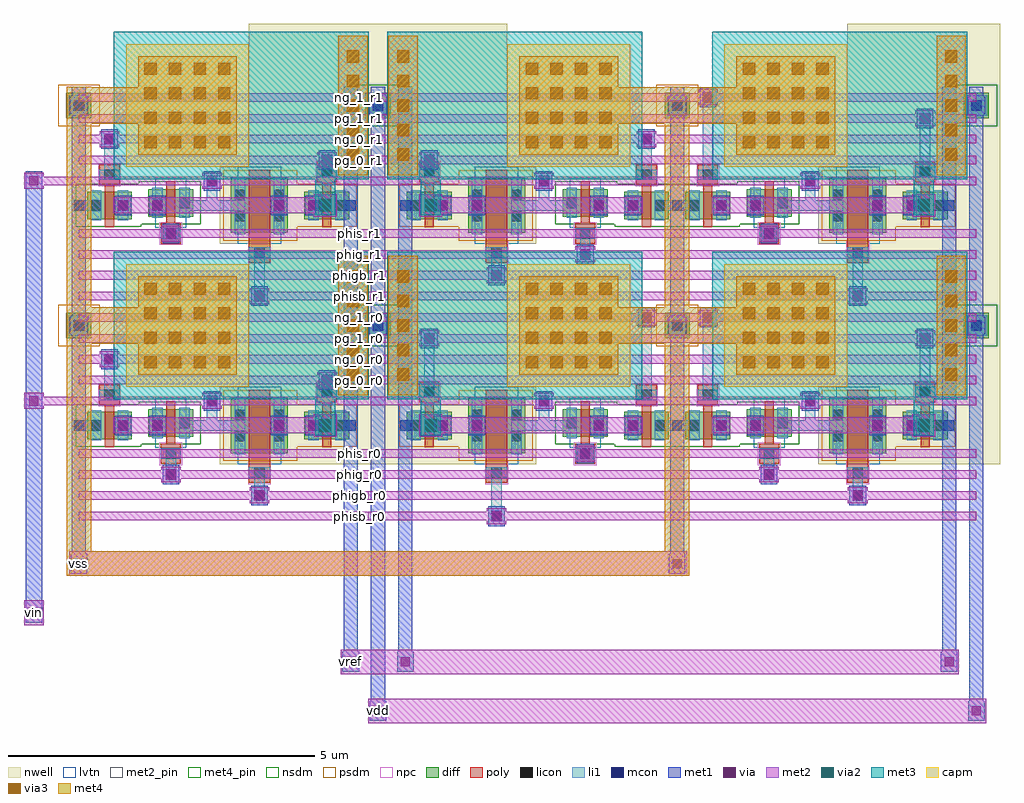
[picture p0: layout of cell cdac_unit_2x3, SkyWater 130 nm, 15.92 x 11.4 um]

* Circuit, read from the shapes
.subckt cdac_unit_2x3 ng_0_r0 ng_0_r1 ng_1_r0 ng_1_r1 pg_0_r0 pg_0_r1 pg_1_r0 pg_1_r1 phig_r0 phig_r1 phigb_r0 phigb_r1 phis_r0 phis_r1 phisb_r0 phisb_r1 top vdd vin vref vss
XM1 n1 ng_0_r0 vss VSUBS sky130_fd_pr__nfet_01v8 w=0.45 l=0.15
XM2 n2 ng_0_r1 vss VSUBS sky130_fd_pr__nfet_01v8 w=0.45 l=0.15
XM3 vin phig_r0 n1 VSUBS sky130_fd_pr__nfet_01v8_lvt w=0.45 l=0.15
XM4 vin phis_r1 n2 VSUBS sky130_fd_pr__nfet_01v8_lvt w=0.45 l=0.15
XM5 n3 phis_r0 vin VSUBS sky130_fd_pr__nfet_01v8_lvt w=0.45 l=0.15
XM6 n4 phig_r1 vin VSUBS sky130_fd_pr__nfet_01v8_lvt w=0.45 l=0.15
XM7 vss ng_1_r0 n3 VSUBS sky130_fd_pr__nfet_01v8 w=0.45 l=0.15
XM8 vss ng_0_r1 n4 VSUBS sky130_fd_pr__nfet_01v8 w=0.45 l=0.15
XM9 n5 ng_1_r0 vss VSUBS sky130_fd_pr__nfet_01v8 w=0.45 l=0.15
XM10 n6 ng_1_r1 vss VSUBS sky130_fd_pr__nfet_01v8 w=0.45 l=0.15
XM11 vin phig_r0 n5 VSUBS sky130_fd_pr__nfet_01v8_lvt w=0.45 l=0.15
XM12 vin phis_r1 n6 VSUBS sky130_fd_pr__nfet_01v8_lvt w=0.45 l=0.15
XM13 n1 phigb_r0 vin n7 sky130_fd_pr__pfet_01v8_lvt w=0.9 l=0.35
XM14 n2 phisb_r1 vin n7 sky130_fd_pr__pfet_01v8_lvt w=0.9 l=0.35
XM15 vref pg_0_r0 n1 n7 sky130_fd_pr__pfet_01v8 w=0.45 l=0.15
XM16 vref pg_0_r1 n2 n7 sky130_fd_pr__pfet_01v8 w=0.45 l=0.15
XM17 n3 pg_1_r0 vref n7 sky130_fd_pr__pfet_01v8 w=0.45 l=0.15
XM18 n4 pg_0_r1 vref n7 sky130_fd_pr__pfet_01v8 w=0.45 l=0.15
XM19 vin phisb_r0 n3 n7 sky130_fd_pr__pfet_01v8_lvt w=0.9 l=0.35
XM20 vin phigb_r1 n4 n7 sky130_fd_pr__pfet_01v8_lvt w=0.9 l=0.35
XM21 n5 phigb_r0 vin n8 sky130_fd_pr__pfet_01v8_lvt w=0.9 l=0.35
XM22 n6 phisb_r1 vin n8 sky130_fd_pr__pfet_01v8_lvt w=0.9 l=0.35
XM23 vref pg_1_r0 n5 n8 sky130_fd_pr__pfet_01v8 w=0.45 l=0.15
XM24 vref pg_1_r1 n6 n8 sky130_fd_pr__pfet_01v8 w=0.45 l=0.15
XC25 top n1 sky130_fd_pr__cap_mim_m3_1 w=2 l=2
XC26 top n2 sky130_fd_pr__cap_mim_m3_1 w=2 l=2
XC27 top n3 sky130_fd_pr__cap_mim_m3_1 w=2 l=2
XC28 top n4 sky130_fd_pr__cap_mim_m3_1 w=2 l=2
XC29 top n5 sky130_fd_pr__cap_mim_m3_1 w=2 l=2
XC30 top n6 sky130_fd_pr__cap_mim_m3_1 w=2 l=2
.ends

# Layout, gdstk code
import gdstk
lib = gdstk.Library(unit=1e-6, precision=5e-09)
def R(c, l, rs):  # rectangles x0, y0, x1, y1
    for r in rs: c.add(gdstk.rectangle(r[:2], r[2:], *l))
def A(c, l, x, y, w, h, nx, ny, dx, dy):  # array of equal rectangles
    R(c, l, [(x+i*dx, y+j*dy, x+i*dx+w, y+j*dy+h) for i in range(nx) for j in range(ny)])
nwell = (64, 20)
diff = (65, 20)
poly = (66, 20)
licon = (66, 44)
li1 = (67, 20)
mcon = (67, 44)
met1 = (68, 20)
via = (68, 44)
met2_pin = (69, 16)
met2 = (69, 20)
via2 = (69, 44)
met3 = (70, 20)
via3 = (70, 44)
met4_pin = (71, 16)
met4 = (71, 20)
capm = (89, 44)
nsdm = (93, 44)
psdm = (94, 20)
npc = (95, 20)
lvtn = (125, 44)

cdac_unit_2x3 = lib.new_cell('cdac_unit_2x3')
R(cdac_unit_2x3, nwell, [(2.3,1.025,5.265,2.285), (2.77,1.025,5.265,4.615), (4.495,1.025,7.46,2.285), (4.495,1.025,6.99,4.615), (12.06,1.025,15.025,2.285), (12.53,1.025,15.025,4.615), (2.3,4.615,5.265,5.875), (2.77,4.615,5.265,8.205), (4.495,4.615,7.46,5.875), (4.495,4.615,6.99,8.205), (12.06,4.615,15.025,5.875), (12.53,4.615,15.025,8.205)])
R(cdac_unit_2x3, diff, [(2.48,1.205,3.41,2.105), (6.35,1.205,7.28,2.105), (12.24,1.205,13.17,2.105), (0.135,1.43,0.865,1.88), (3.68,1.43,4.41,1.88), (5.35,1.43,6.08,1.88), (8.895,1.43,9.625,1.88), (9.895,1.43,10.625,1.88), (13.44,1.43,14.17,1.88), (1.135,1.47,1.865,1.92), (7.895,1.47,8.625,1.92), (10.895,1.47,11.625,1.92), (-0.205,3.08,0.205,3.49), (4.675,3.08,5.085,3.49), (4.675,3.08,5.085,3.49), (9.555,3.08,9.965,3.49), (9.555,3.08,9.965,3.49), (14.435,3.08,14.845,3.49), (2.48,4.795,3.41,5.695), (6.35,4.795,7.28,5.695), (12.24,4.795,13.17,5.695), (0.135,5.02,0.865,5.47), (3.68,5.02,4.41,5.47), (5.35,5.02,6.08,5.47), (8.895,5.02,9.625,5.47), (9.895,5.02,10.625,5.47), (13.44,5.02,14.17,5.47), (1.135,5.06,1.865,5.51), (7.895,5.06,8.625,5.51), (10.895,5.06,11.625,5.51), (-0.205,6.67,0.205,7.08), (4.675,6.67,5.085,7.08), (4.675,6.67,5.085,7.08), (9.555,6.67,9.965,7.08), (9.555,6.67,9.965,7.08), (14.435,6.67,14.845,7.08)])
R(cdac_unit_2x3, poly, [(2.77,0.72,3.12,2.235), (6.64,0.72,6.99,2.235), (12.53,0.72,12.88,2.235), (1.335,1.03,1.665,1.36), (8.095,1.03,8.425,1.36), (11.095,1.03,11.425,1.36), (0.425,1.3,0.575,1.99), (3.97,1.3,4.12,2.035), (5.64,1.3,5.79,2.035), (9.185,1.3,9.335,1.99), (10.185,1.3,10.335,1.99), (13.73,1.3,13.88,2.035), (1.425,1.36,1.575,2.05), (8.185,1.36,8.335,2.05), (11.185,1.36,11.335,2.05), (0.335,1.99,0.665,2.32), (9.095,1.99,9.425,2.32), (10.095,1.99,10.425,2.32), (3.88,2.035,4.21,2.365), (5.55,2.035,5.88,2.365), (13.64,2.035,13.97,2.365), (2.77,4.31,3.12,5.825), (6.64,4.31,6.99,5.825), (12.53,4.31,12.88,5.825), (1.335,4.62,1.665,4.95), (8.095,4.62,8.425,4.95), (11.095,4.62,11.425,4.95), (0.425,4.89,0.575,5.58), (3.97,4.89,4.12,5.625), (5.64,4.89,5.79,5.625), (9.185,4.89,9.335,5.58), (10.185,4.89,10.335,5.58), (13.73,4.89,13.88,5.625), (1.425,4.95,1.575,5.64), (8.185,4.95,8.335,5.64), (11.185,4.95,11.335,5.64), (0.335,5.58,0.665,5.91), (9.095,5.58,9.425,5.91), (10.095,5.58,10.425,5.91), (3.88,5.625,4.21,5.955), (5.55,5.625,5.88,5.955), (13.64,5.625,13.97,5.955)])
R(cdac_unit_2x3, licon, [(2.86,0.8,3.03,0.97), (6.73,0.8,6.9,0.97), (12.62,0.8,12.79,0.97), (1.415,1.11,1.585,1.28), (8.175,1.11,8.345,1.28), (11.175,1.11,11.345,1.28), (2.54,1.4,2.71,1.57), (3.18,1.4,3.35,1.57), (6.41,1.4,6.58,1.57), (7.05,1.4,7.22,1.57), (12.3,1.4,12.47,1.57), (12.94,1.4,13.11,1.57), (0.195,1.57,0.365,1.74), (0.635,1.57,0.805,1.74), (3.74,1.57,3.91,1.74), (4.18,1.57,4.35,1.74), (5.41,1.57,5.58,1.74), (5.85,1.57,6.02,1.74), (8.955,1.57,9.125,1.74), (9.395,1.57,9.565,1.74), (9.955,1.57,10.125,1.74), (10.395,1.57,10.565,1.74), (13.5,1.57,13.67,1.74), (13.94,1.57,14.11,1.74), (1.195,1.61,1.365,1.78), (1.635,1.61,1.805,1.78), (7.955,1.61,8.125,1.78), (8.395,1.61,8.565,1.78), (10.955,1.61,11.125,1.78), (11.395,1.61,11.565,1.78), (2.54,1.74,2.71,1.91), (3.18,1.74,3.35,1.91), (6.41,1.74,6.58,1.91), (7.05,1.74,7.22,1.91), (12.3,1.74,12.47,1.91), (12.94,1.74,13.11,1.91), (0.415,2.07,0.585,2.24), (9.175,2.07,9.345,2.24), (10.175,2.07,10.345,2.24), (3.96,2.115,4.13,2.285), (5.63,2.115,5.8,2.285), (13.72,2.115,13.89,2.285), (-0.085,3.2,0.085,3.37), (4.795,3.2,4.965,3.37), (4.795,3.2,4.965,3.37), (9.675,3.2,9.845,3.37), (9.675,3.2,9.845,3.37), (14.555,3.2,14.725,3.37), (2.86,4.39,3.03,4.56), (6.73,4.39,6.9,4.56), (12.62,4.39,12.79,4.56), (1.415,4.7,1.585,4.87), (8.175,4.7,8.345,4.87), (11.175,4.7,11.345,4.87), (2.54,4.99,2.71,5.16), (3.18,4.99,3.35,5.16), (6.41,4.99,6.58,5.16), (7.05,4.99,7.22,5.16), (12.3,4.99,12.47,5.16), (12.94,4.99,13.11,5.16), (0.195,5.16,0.365,5.33), (0.635,5.16,0.805,5.33), (3.74,5.16,3.91,5.33), (4.18,5.16,4.35,5.33), (5.41,5.16,5.58,5.33), (5.85,5.16,6.02,5.33), (8.955,5.16,9.125,5.33), (9.395,5.16,9.565,5.33), (9.955,5.16,10.125,5.33), (10.395,5.16,10.565,5.33), (13.5,5.16,13.67,5.33), (13.94,5.16,14.11,5.33), (1.195,5.2,1.365,5.37), (1.635,5.2,1.805,5.37), (7.955,5.2,8.125,5.37), (8.395,5.2,8.565,5.37), (10.955,5.2,11.125,5.37), (11.395,5.2,11.565,5.37), (2.54,5.33,2.71,5.5), (3.18,5.33,3.35,5.5), (6.41,5.33,6.58,5.5), (7.05,5.33,7.22,5.5), (12.3,5.33,12.47,5.5), (12.94,5.33,13.11,5.5), (0.415,5.66,0.585,5.83), (9.175,5.66,9.345,5.83), (10.175,5.66,10.345,5.83), (3.96,5.705,4.13,5.875), (5.63,5.705,5.8,5.875), (13.72,5.705,13.89,5.875), (-0.085,6.79,0.085,6.96), (4.795,6.79,4.965,6.96), (4.795,6.79,4.965,6.96), (9.675,6.79,9.845,6.96), (9.675,6.79,9.845,6.96), (14.555,6.79,14.725,6.96)])
R(cdac_unit_2x3, li1, [(6.73,0.09,6.9,0.97), (2.86,0.43,3.03,0.97), (12.62,0.43,12.79,0.97), (1.415,0.77,1.585,1.28), (11.175,0.77,11.345,1.28), (2.77,0.8,3.12,0.97), (6.64,0.8,6.99,0.97), (12.53,0.8,12.88,0.97), (1.335,1.11,1.665,1.28), (8.095,1.11,8.425,1.28), (8.175,1.11,8.345,1.28), (11.095,1.11,11.425,1.28), (2.54,1.185,2.71,2.125), (3.18,1.185,3.35,2.125), (6.41,1.185,6.58,2.125), (7.05,1.185,7.22,2.125), (12.3,1.185,12.47,2.125), (12.94,1.185,13.11,2.125), (0.195,1.41,0.365,1.9), (0.635,1.41,0.805,1.9), (3.74,1.41,3.91,1.9), (4.18,1.41,4.35,1.9), (5.41,1.41,5.58,1.9), (5.85,1.41,6.02,1.9), (8.955,1.41,9.125,1.9), (9.395,1.41,9.565,1.9), (9.955,1.41,10.125,1.9), (10.395,1.41,10.565,1.9), (13.5,1.41,13.67,1.9), (13.94,1.41,14.11,1.9), (1.195,1.45,1.365,1.94), (1.635,1.45,1.805,1.94), (7.955,1.45,8.125,1.94), (8.395,1.45,8.565,1.94), (10.955,1.45,11.125,1.94), (11.395,1.45,11.565,1.94), (-0.085,1.57,0.28,1.74), (1.72,1.57,2.625,1.74), (4.265,1.57,4.52,1.74), (5.24,1.57,5.495,1.74), (7.135,1.57,8.04,1.74), (9.48,1.57,9.845,1.74), (9.675,1.57,10.04,1.74), (11.48,1.57,12.385,1.74), (14.025,1.57,14.28,1.74), (2.085,1.655,2.255,2.14), (7.505,1.655,7.675,2.14), (11.845,1.655,12.015,2.14), (0.335,2.07,0.665,2.24), (0.415,2.07,0.585,2.82), (9.095,2.07,9.425,2.24), (9.175,2.07,9.345,3.5), (10.095,2.07,10.425,2.24), (10.175,2.07,10.345,3.5), (3.88,2.115,4.21,2.285), (3.96,2.115,4.13,2.48), (5.55,2.115,5.88,2.285), (5.63,2.115,5.8,3.16), (13.64,2.115,13.97,2.285), (13.72,2.115,13.89,3.16), (-0.165,3.12,0.165,3.45), (4.715,3.12,5.045,3.45), (4.715,3.12,5.045,3.45), (9.595,3.12,9.925,3.45), (9.595,3.12,9.925,3.45), (14.475,3.12,14.805,3.45), (2.86,3.68,3.03,4.56), (12.62,3.68,12.79,4.56), (6.73,4.02,6.9,4.56), (8.175,4.36,8.345,4.87), (2.77,4.39,3.12,4.56), (6.64,4.39,6.99,4.56), (12.53,4.39,12.88,4.56), (1.335,4.7,1.665,4.87), (1.415,4.7,1.585,4.87), (8.095,4.7,8.425,4.87), (11.095,4.7,11.425,4.87), (11.175,4.7,11.345,4.87), (2.54,4.775,2.71,5.715), (3.18,4.775,3.35,5.715), (6.41,4.775,6.58,5.715), (7.05,4.775,7.22,5.715), (12.3,4.775,12.47,5.715), (12.94,4.775,13.11,5.715), (0.195,5,0.365,5.49), (0.635,5,0.805,5.49), (3.74,5,3.91,5.49), (4.18,5,4.35,5.49), (5.41,5,5.58,5.49), (5.85,5,6.02,5.49), (8.955,5,9.125,5.49), (9.395,5,9.565,5.49), (9.955,5,10.125,5.49), (10.395,5,10.565,5.49), (13.5,5,13.67,5.49), (13.94,5,14.11,5.49), (1.195,5.04,1.365,5.53), (1.635,5.04,1.805,5.53), (7.955,5.04,8.125,5.53), (8.395,5.04,8.565,5.53), (10.955,5.04,11.125,5.53), (11.395,5.04,11.565,5.53), (-0.085,5.16,0.28,5.33), (1.72,5.16,2.625,5.33), (4.265,5.16,4.52,5.33), (5.24,5.16,5.495,5.33), (7.135,5.16,8.04,5.33), (9.48,5.16,9.845,5.33), (9.675,5.16,10.04,5.33), (11.48,5.16,12.385,5.33), (14.025,5.16,14.28,5.33), (2.085,5.245,2.255,5.73), (7.505,5.245,7.675,5.73), (11.845,5.245,12.015,5.73), (0.335,5.66,0.665,5.83), (0.415,5.66,0.585,6.41), (9.095,5.66,9.425,5.83), (9.175,5.66,9.345,6.41), (10.095,5.66,10.425,5.83), (10.175,5.66,10.345,7.09), (3.88,5.705,4.21,5.875), (3.96,5.705,4.13,6.07), (5.55,5.705,5.88,5.875), (5.63,5.705,5.8,6.07), (13.64,5.705,13.97,5.875), (13.72,5.705,13.89,6.75), (-0.165,6.71,0.165,7.04), (4.715,6.71,5.045,7.04), (4.715,6.71,5.045,7.04), (9.595,6.71,9.925,7.04), (9.595,6.71,9.925,7.04), (14.475,6.71,14.805,7.04)])
R(cdac_unit_2x3, mcon, [(6.73,0.09,6.9,0.26), (2.86,0.43,3.03,0.6), (12.62,0.43,12.79,0.6), (1.415,0.77,1.585,0.94), (11.175,0.77,11.345,0.94), (8.175,1.11,8.345,1.28), (-0.085,1.57,0.085,1.74), (0.635,1.57,0.805,1.74), (1.195,1.57,1.365,1.74), (3.18,1.57,3.35,1.74), (3.74,1.57,3.91,1.74), (4.35,1.57,4.52,1.74), (5.24,1.57,5.41,1.74), (5.85,1.57,6.02,1.74), (6.41,1.57,6.58,1.74), (8.395,1.57,8.565,1.74), (8.955,1.57,9.125,1.74), (9.675,1.57,9.845,1.74), (9.675,1.57,9.845,1.74), (10.395,1.57,10.565,1.74), (10.955,1.57,11.125,1.74), (12.94,1.57,13.11,1.74), (13.5,1.57,13.67,1.74), (14.11,1.57,14.28,1.74), (2.085,1.97,2.255,2.14), (7.505,1.97,7.675,2.14), (11.845,1.97,12.015,2.14), (3.96,2.31,4.13,2.48), (0.415,2.65,0.585,2.82), (5.63,2.99,5.8,3.16), (13.72,2.99,13.89,3.16), (-0.085,3.2,0.085,3.37), (4.795,3.2,4.965,3.37), (4.795,3.2,4.965,3.37), (9.675,3.2,9.845,3.37), (9.675,3.2,9.845,3.37), (14.555,3.2,14.725,3.37), (9.175,3.33,9.345,3.5), (10.175,3.33,10.345,3.5), (2.86,3.68,3.03,3.85), (12.62,3.68,12.79,3.85), (6.73,4.02,6.9,4.19), (8.175,4.36,8.345,4.53), (1.415,4.7,1.585,4.87), (11.175,4.7,11.345,4.87), (-0.085,5.16,0.085,5.33), (0.635,5.16,0.805,5.33), (1.195,5.16,1.365,5.33), (3.18,5.16,3.35,5.33), (3.74,5.16,3.91,5.33), (4.35,5.16,4.52,5.33), (5.24,5.16,5.41,5.33), (5.85,5.16,6.02,5.33), (6.41,5.16,6.58,5.33), (8.395,5.16,8.565,5.33), (8.955,5.16,9.125,5.33), (9.675,5.16,9.845,5.33), (9.675,5.16,9.845,5.33), (10.395,5.16,10.565,5.33), (10.955,5.16,11.125,5.33), (12.94,5.16,13.11,5.33), (13.5,5.16,13.67,5.33), (14.11,5.16,14.28,5.33), (2.085,5.56,2.255,5.73), (7.505,5.56,7.675,5.73), (11.845,5.56,12.015,5.73), (3.96,5.9,4.13,6.07), (5.63,5.9,5.8,6.07), (0.415,6.24,0.585,6.41), (9.175,6.24,9.345,6.41), (13.72,6.58,13.89,6.75), (-0.085,6.79,0.085,6.96), (4.795,6.79,4.965,6.96), (4.795,6.79,4.965,6.96), (9.675,6.79,9.845,6.96), (9.675,6.79,9.845,6.96), (14.555,6.79,14.725,6.96), (10.175,6.92,10.345,7.09)])
R(cdac_unit_2x3, met1, [(4.745,-3.16,5.015,-2.84), (14.505,-3.16,14.775,-2.84), (4.765,-3,4.995,0), (14.525,-3,14.755,0), (4.3,-2.36,4.57,-2.04), (5.19,-2.36,5.46,-2.04), (14.06,-2.36,14.33,-2.04), (4.32,-2.2,4.55,0), (5.21,-2.2,5.44,0), (14.08,-2.2,14.31,0), (-0.87,-1.56,-0.6,-1.24), (-0.87,-1.4,-0.6,5.645), (-0.135,-0.76,0.135,-0.44), (9.625,-0.76,9.895,-0.44), (-0.115,-0.6,0.115,0), (9.645,-0.6,9.875,0), (-0.115,0,0.115,3.59), (4.32,0,4.55,3.59), (4.765,0,4.995,3.59), (4.765,0,4.995,3.59), (5.21,0,5.44,3.59), (9.645,0,9.875,3.59), (9.645,0,9.875,3.59), (14.08,0,14.31,3.59), (14.525,0,14.755,3.59), (6.68,0.015,6.95,0.335), (2.81,0.355,3.08,0.675), (12.57,0.355,12.84,0.675), (1.365,0.695,1.635,1.015), (11.125,0.695,11.395,1.015), (8.125,1.035,8.395,1.355), (0.585,1.495,0.855,1.815), (1.145,1.495,1.415,1.815), (3.13,1.495,3.4,1.815), (3.69,1.495,3.96,1.815), (5.8,1.495,6.07,1.815), (6.36,1.495,6.63,1.815), (8.345,1.495,8.615,1.815), (8.905,1.495,9.175,1.815), (10.345,1.495,10.615,1.815), (10.905,1.495,11.175,1.815), (12.89,1.495,13.16,1.815), (13.45,1.495,13.72,1.815), (-0.115,1.515,0.115,1.795), (4.32,1.515,4.55,1.795), (5.21,1.515,5.44,1.795), (9.645,1.515,9.875,1.795), (9.645,1.515,9.875,1.795), (14.08,1.515,14.31,1.795), (-0.87,1.895,-0.6,2.215), (2.035,1.895,2.305,2.215), (7.455,1.895,7.725,2.215), (11.795,1.895,12.065,2.215), (3.91,2.235,4.18,2.555), (0.365,2.575,0.635,2.895), (5.58,2.915,5.85,3.235), (13.67,2.915,13.94,3.235), (-0.145,3.14,0.145,3.43), (4.735,3.14,5.025,3.43), (4.735,3.14,5.025,3.43), (9.615,3.14,9.905,3.43), (9.615,3.14,9.905,3.43), (14.495,3.14,14.785,3.43), (9.125,3.255,9.395,3.575), (10.125,3.255,10.395,3.575), (-0.115,3.59,0.115,7.18), (4.32,3.59,4.55,7.18), (4.765,3.59,4.995,7.18), (4.765,3.59,4.995,7.18), (5.21,3.59,5.44,7.18), (9.645,3.59,9.875,7.18), (9.645,3.59,9.875,7.18), (14.08,3.59,14.31,7.18), (14.525,3.59,14.755,7.18), (2.81,3.605,3.08,3.925), (12.57,3.605,12.84,3.925), (6.68,3.945,6.95,4.265), (8.125,4.285,8.395,4.605), (1.365,4.625,1.635,4.945), (11.125,4.625,11.395,4.945), (0.585,5.085,0.855,5.405), (1.145,5.085,1.415,5.405), (3.13,5.085,3.4,5.405), (3.69,5.085,3.96,5.405), (5.8,5.085,6.07,5.405), (6.36,5.085,6.63,5.405), (8.345,5.085,8.615,5.405), (8.905,5.085,9.175,5.405), (10.345,5.085,10.615,5.405), (10.905,5.085,11.175,5.405), (12.89,5.085,13.16,5.405), (13.45,5.085,13.72,5.405), (-0.115,5.105,0.115,5.385), (4.32,5.105,4.55,5.385), (5.21,5.105,5.44,5.385), (9.645,5.105,9.875,5.385), (9.645,5.105,9.875,5.385), (14.08,5.105,14.31,5.385), (-0.87,5.485,-0.6,5.805), (2.035,5.485,2.305,5.805), (7.455,5.485,7.725,5.805), (11.795,5.485,12.065,5.805), (3.91,5.825,4.18,6.145), (5.58,5.825,5.85,6.145), (0.365,6.165,0.635,6.485), (9.125,6.165,9.395,6.485), (13.67,6.505,13.94,6.825), (-0.145,6.73,0.145,7.02), (4.735,6.73,5.025,7.02), (4.735,6.73,5.025,7.02), (9.615,6.73,9.905,7.02), (9.615,6.73,9.905,7.02), (14.495,6.73,14.785,7.02), (10.125,6.845,10.395,7.165)])
R(cdac_unit_2x3, via, [(4.805,-3.075,4.955,-2.925), (14.565,-3.075,14.715,-2.925), (4.36,-2.275,4.51,-2.125), (5.25,-2.275,5.4,-2.125), (14.12,-2.275,14.27,-2.125), (-0.81,-1.475,-0.66,-1.325), (-0.075,-0.675,0.075,-0.525), (9.685,-0.675,9.835,-0.525), (6.74,0.1,6.89,0.25), (2.87,0.44,3.02,0.59), (12.63,0.44,12.78,0.59), (1.425,0.78,1.575,0.93), (11.185,0.78,11.335,0.93), (8.185,1.12,8.335,1.27), (0.645,1.58,0.795,1.73), (1.205,1.58,1.355,1.73), (3.19,1.58,3.34,1.73), (3.75,1.58,3.9,1.73), (5.86,1.58,6.01,1.73), (6.42,1.58,6.57,1.73), (8.405,1.58,8.555,1.73), (8.965,1.58,9.115,1.73), (10.405,1.58,10.555,1.73), (10.965,1.58,11.115,1.73), (12.95,1.58,13.1,1.73), (13.51,1.58,13.66,1.73), (-0.81,1.98,-0.66,2.13), (2.095,1.98,2.245,2.13), (7.515,1.98,7.665,2.13), (11.855,1.98,12.005,2.13), (3.97,2.32,4.12,2.47), (0.425,2.66,0.575,2.81), (5.64,3,5.79,3.15), (13.73,3,13.88,3.15), (9.185,3.34,9.335,3.49), (10.185,3.34,10.335,3.49), (2.87,3.69,3.02,3.84), (12.63,3.69,12.78,3.84), (6.74,4.03,6.89,4.18), (8.185,4.37,8.335,4.52), (1.425,4.71,1.575,4.86), (11.185,4.71,11.335,4.86), (0.645,5.17,0.795,5.32), (1.205,5.17,1.355,5.32), (3.19,5.17,3.34,5.32), (3.75,5.17,3.9,5.32), (5.86,5.17,6.01,5.32), (6.42,5.17,6.57,5.32), (8.405,5.17,8.555,5.32), (8.965,5.17,9.115,5.32), (10.405,5.17,10.555,5.32), (10.965,5.17,11.115,5.32), (12.95,5.17,13.1,5.32), (13.51,5.17,13.66,5.32), (-0.81,5.57,-0.66,5.72), (2.095,5.57,2.245,5.72), (7.515,5.57,7.665,5.72), (11.855,5.57,12.005,5.72), (3.97,5.91,4.12,6.06), (5.64,5.91,5.79,6.06), (0.425,6.25,0.575,6.4), (9.185,6.25,9.335,6.4), (13.73,6.59,13.88,6.74), (10.185,6.93,10.335,7.08)])
A(cdac_unit_2x3, met2_pin, 4.43, 0.105, 0.3, 0.14, 1, 4, 0, 0.34)
A(cdac_unit_2x3, met2_pin, 4.43, 2.325, 0.3, 0.14, 1, 4, 0, 0.34)
A(cdac_unit_2x3, met2_pin, 4.43, 3.695, 0.3, 0.14, 1, 4, 0, 0.34)
A(cdac_unit_2x3, met2_pin, 4.43, 5.915, 0.3, 0.14, 1, 4, 0, 0.34)
R(cdac_unit_2x3, met2_pin, [(4.73,-3.08,5.03,-2.92), (4.285,-2.28,4.585,-2.12), (-0.885,-1.48,-0.585,-1.32), (-0.15,-0.68,0.15,-0.52)])
A(cdac_unit_2x3, met2, 0, 0.105, 4.88, 0.14, 3, 4, 4.88, 0.34)
A(cdac_unit_2x3, met2, 0, 1.985, 4.88, 0.14, 3, 5, 4.88, 0.34)
A(cdac_unit_2x3, met2, 0, 3.695, 4.88, 0.14, 3, 4, 4.88, 0.34)
A(cdac_unit_2x3, met2, 0, 5.575, 4.88, 0.14, 3, 5, 4.88, 0.34)
R(cdac_unit_2x3, met2, [(4.72,-3.2,14.8,-2.8), (4.72,-3.13,5.04,-2.87), (14.48,-3.13,14.8,-2.87), (4.275,-2.4,14.355,-2), (4.275,-2.33,4.595,-2.07), (5.165,-2.33,5.485,-2.07), (14.035,-2.33,14.355,-2.07), (-0.895,-1.6,-0.575,-1.2), (-0.895,-1.53,-0.575,-1.27), (-0.16,-0.8,9.92,-0.4), (-0.16,-0.73,0.16,-0.47), (9.6,-0.73,9.92,-0.47), (6.655,0.045,6.975,0.305), (2.785,0.385,3.105,0.645), (12.545,0.385,12.865,0.645), (1.34,0.725,1.66,0.985), (11.1,0.725,11.42,0.985), (8.1,1.065,8.42,1.325), (3.835,1.47,4.205,1.84), (5.555,1.47,5.925,1.84), (13.595,1.47,13.965,1.84), (0.56,1.525,0.88,1.785), (0.56,1.525,4.205,1.785), (1.12,1.525,1.44,1.785), (3.105,1.525,3.425,1.785), (3.665,1.525,3.985,1.785), (5.555,1.525,9.2,1.785), (5.775,1.525,6.095,1.785), (6.335,1.525,6.655,1.785), (8.32,1.525,8.64,1.785), (8.88,1.525,9.2,1.785), (10.32,1.525,10.64,1.785), (10.32,1.525,13.965,1.785), (10.88,1.525,11.2,1.785), (12.865,1.525,13.185,1.785), (13.425,1.525,13.745,1.785), (-0.895,1.925,-0.575,2.185), (2.01,1.925,2.33,2.185), (7.43,1.925,7.75,2.185), (11.77,1.925,12.09,2.185), (-0.735,1.985,0,2.125), (3.885,2.265,4.205,2.525), (0.34,2.605,0.66,2.865), (5.555,2.945,5.875,3.205), (13.645,2.945,13.965,3.205), (9.1,3.285,9.42,3.545), (10.1,3.285,10.42,3.545), (2.785,3.635,3.105,3.895), (12.545,3.635,12.865,3.895), (6.655,3.975,6.975,4.235), (8.1,4.315,8.42,4.575), (1.34,4.655,1.66,4.915), (11.1,4.655,11.42,4.915), (3.835,5.06,4.205,5.43), (5.555,5.06,5.925,5.43), (13.595,5.06,13.965,5.43), (0.56,5.115,0.88,5.375), (0.56,5.115,4.205,5.375), (1.12,5.115,1.44,5.375), (3.105,5.115,3.425,5.375), (3.665,5.115,3.985,5.375), (5.555,5.115,9.2,5.375), (5.775,5.115,6.095,5.375), (6.335,5.115,6.655,5.375), (8.32,5.115,8.64,5.375), (8.88,5.115,9.2,5.375), (10.32,5.115,10.64,5.375), (10.32,5.115,13.965,5.375), (10.88,5.115,11.2,5.375), (12.865,5.115,13.185,5.375), (13.425,5.115,13.745,5.375), (-0.895,5.515,-0.575,5.775), (2.01,5.515,2.33,5.775), (7.43,5.515,7.75,5.775), (11.77,5.515,12.09,5.775), (-0.735,5.575,0,5.715), (3.885,5.855,4.205,6.115), (5.555,5.855,5.875,6.115), (0.34,6.195,0.66,6.455), (9.1,6.195,9.42,6.455), (13.645,6.535,13.965,6.795), (10.1,6.875,10.42,7.135)])
R(cdac_unit_2x3, via2, [(3.92,1.555,4.12,1.755), (5.64,1.555,5.84,1.755), (13.68,1.555,13.88,1.755), (3.92,5.145,4.12,5.345), (5.64,5.145,5.84,5.345), (13.68,5.145,13.88,5.345)])
R(cdac_unit_2x3, met3, [(3.855,1.49,4.185,2.285), (5.575,1.49,5.905,2.285), (13.615,1.49,13.945,2.285), (0.57,2.085,4.73,4.485), (5.03,2.085,9.19,4.485), (10.33,2.085,14.49,4.485), (3.855,5.08,4.185,5.875), (5.575,5.08,5.905,5.875), (13.615,5.08,13.945,5.875), (0.57,5.675,4.73,8.075), (5.03,5.675,9.19,8.075), (10.33,5.675,14.49,8.075)])
A(cdac_unit_2x3, via3, 4.37, 2.385, 0.2, 0.2, 1, 5, 0, 0.4)
A(cdac_unit_2x3, via3, 5.19, 2.385, 0.2, 0.2, 1, 5, 0, 0.4)
A(cdac_unit_2x3, via3, 14.13, 2.385, 0.2, 0.2, 1, 5, 0, 0.4)
A(cdac_unit_2x3, via3, 1.07, 2.585, 0.2, 0.2, 4, 4, 0.4, 0.4)
A(cdac_unit_2x3, via3, 7.29, 2.585, 0.2, 0.2, 4, 4, 0.4, 0.4)
A(cdac_unit_2x3, via3, 10.83, 2.585, 0.2, 0.2, 4, 4, 0.4, 0.4)
A(cdac_unit_2x3, via3, 4.37, 5.975, 0.2, 0.2, 1, 5, 0, 0.4)
A(cdac_unit_2x3, via3, 5.19, 5.975, 0.2, 0.2, 1, 5, 0, 0.4)
A(cdac_unit_2x3, via3, 14.13, 5.975, 0.2, 0.2, 1, 5, 0, 0.4)
A(cdac_unit_2x3, via3, 1.07, 6.175, 0.2, 0.2, 4, 4, 0.4, 0.4)
A(cdac_unit_2x3, via3, 7.29, 6.175, 0.2, 0.2, 4, 4, 0.4, 0.4)
A(cdac_unit_2x3, via3, 10.83, 6.175, 0.2, 0.2, 4, 4, 0.4, 0.4)
R(cdac_unit_2x3, met4_pin, [(-0.15,-0.68,0.15,-0.52)])
R(cdac_unit_2x3, met4, [(-0.2,-0.8,0.2,0), (-0.2,-0.8,9.96,-0.4), (9.56,-0.8,9.96,0), (-0.2,0,0.2,3.59), (9.56,0,9.96,3.59), (9.56,0,9.96,3.59), (4.23,2.145,4.71,4.425), (5.05,2.145,5.53,4.425), (13.99,2.145,14.47,4.425), (0.965,2.48,2.575,4.09), (7.185,2.48,8.795,4.09), (10.725,2.48,12.335,4.09), (0,2.985,1.165,3.585), (8.595,2.985,9.76,3.585), (9.76,2.985,10.925,3.585), (-0.2,3.59,0.2,7.18), (9.56,3.59,9.96,7.18), (9.56,3.59,9.96,7.18), (4.23,5.735,4.71,8.015), (5.05,5.735,5.53,8.015), (13.99,5.735,14.47,8.015), (0.965,6.07,2.575,7.68), (7.185,6.07,8.795,7.68), (10.725,6.07,12.335,7.68), (0,6.575,1.165,7.175), (8.595,6.575,9.76,7.175), (9.76,6.575,10.925,7.175)])
R(cdac_unit_2x3, capm, [(0.77,2.285,2.77,4.285), (6.99,2.285,8.99,4.285), (10.53,2.285,12.53,4.285), (0.77,5.875,2.77,7.875), (6.99,5.875,8.99,7.875), (10.53,5.875,12.53,7.875)])
R(cdac_unit_2x3, nsdm, [(-0.05,1.305,0.02,2.005), (0.01,1.305,0.99,2.005), (0.98,1.305,1.02,2.045), (8.74,1.305,8.78,2.045), (8.77,1.305,9.75,2.005), (9.71,1.305,9.78,2.005), (9.74,1.305,9.81,2.005), (9.77,1.305,10.75,2.005), (10.74,1.305,10.78,2.045), (1.01,1.345,1.99,2.045), (7.77,1.345,8.75,2.045), (10.77,1.345,11.75,2.045), (4.54,2.945,5.22,3.625), (4.54,2.945,5.22,3.625), (14.3,2.945,14.98,3.625), (-0.05,4.895,0.02,5.595), (0.01,4.895,0.99,5.595), (0.98,4.895,1.02,5.635), (8.74,4.895,8.78,5.635), (8.77,4.895,9.75,5.595), (9.71,4.895,9.78,5.595), (9.74,4.895,9.81,5.595), (9.77,4.895,10.75,5.595), (10.74,4.895,10.78,5.635), (1.01,4.935,1.99,5.635), (7.77,4.935,8.75,5.635), (10.77,4.935,11.75,5.635), (4.54,6.535,5.22,7.215), (4.54,6.535,5.22,7.215), (14.3,6.535,14.98,7.215)])
R(cdac_unit_2x3, psdm, [(2.355,1.08,3.535,2.23), (3.525,1.08,3.565,2.23), (6.195,1.08,6.235,2.23), (6.225,1.08,7.405,2.23), (12.115,1.08,13.295,2.23), (13.285,1.08,13.325,2.23), (3.555,1.305,4.535,2.005), (5.225,1.305,6.205,2.005), (13.315,1.305,14.295,2.005), (-0.34,2.945,0.34,3.625), (9.42,2.945,10.1,3.625), (9.42,2.945,10.1,3.625), (2.355,4.67,3.535,5.82), (3.525,4.67,3.565,5.82), (6.195,4.67,6.235,5.82), (6.225,4.67,7.405,5.82), (12.115,4.67,13.295,5.82), (13.285,4.67,13.325,5.82), (3.555,4.895,4.535,5.595), (5.225,4.895,6.205,5.595), (13.315,4.895,14.295,5.595), (-0.34,6.535,0.34,7.215), (9.42,6.535,10.1,7.215), (9.42,6.535,10.1,7.215)])
R(cdac_unit_2x3, npc, [(2.76,0.7,3.13,1.07), (6.63,0.7,7,1.07), (12.52,0.7,12.89,1.07), (1.315,1.01,1.685,1.38), (8.075,1.01,8.445,1.38), (11.075,1.01,11.445,1.38), (0.315,1.97,0.685,2.34), (9.075,1.97,9.445,2.34), (10.075,1.97,10.445,2.34), (3.86,2.015,4.23,2.385), (5.53,2.015,5.9,2.385), (13.62,2.015,13.99,2.385), (2.76,4.29,3.13,4.66), (6.63,4.29,7,4.66), (12.52,4.29,12.89,4.66), (1.315,4.6,1.685,4.97), (8.075,4.6,8.445,4.97), (11.075,4.6,11.445,4.97), (0.315,5.56,0.685,5.93), (9.075,5.56,9.445,5.93), (10.075,5.56,10.445,5.93), (3.86,5.605,4.23,5.975), (5.53,5.605,5.9,5.975), (13.62,5.605,13.99,5.975)])
R(cdac_unit_2x3, lvtn, [(2.59,1.025,3.3,2.285), (6.46,1.025,7.17,2.285), (12.35,1.025,13.06,2.285), (1.245,1.29,1.755,2.1), (8.005,1.29,8.515,2.1), (11.005,1.29,11.515,2.1), (2.59,4.615,3.3,5.875), (6.46,4.615,7.17,5.875), (12.35,4.615,13.06,5.875), (1.245,4.88,1.755,5.69), (8.005,4.88,8.515,5.69), (11.005,4.88,11.515,5.69)])
cdac_unit_2x3.add(gdstk.Label('phisb_r0', (4.58,0.175), layer=69, texttype=5))
cdac_unit_2x3.add(gdstk.Label('phigb_r0', (4.58,0.515), layer=69, texttype=5))
cdac_unit_2x3.add(gdstk.Label('phig_r0', (4.58,0.855), layer=69, texttype=5))
cdac_unit_2x3.add(gdstk.Label('phis_r0', (4.58,1.195), layer=69, texttype=5))
cdac_unit_2x3.add(gdstk.Label('pg_0_r0', (4.58,2.395), layer=69, texttype=5))
cdac_unit_2x3.add(gdstk.Label('ng_0_r0', (4.58,2.735), layer=69, texttype=5))
cdac_unit_2x3.add(gdstk.Label('pg_1_r0', (4.58,3.075), layer=69, texttype=5))
cdac_unit_2x3.add(gdstk.Label('ng_1_r0', (4.58,3.415), layer=69, texttype=5))
cdac_unit_2x3.add(gdstk.Label('phisb_r1', (4.58,3.765), layer=69, texttype=5))
cdac_unit_2x3.add(gdstk.Label('phigb_r1', (4.58,4.105), layer=69, texttype=5))
cdac_unit_2x3.add(gdstk.Label('phig_r1', (4.58,4.445), layer=69, texttype=5))
cdac_unit_2x3.add(gdstk.Label('phis_r1', (4.58,4.785), layer=69, texttype=5))
cdac_unit_2x3.add(gdstk.Label('pg_0_r1', (4.58,5.985), layer=69, texttype=5))
cdac_unit_2x3.add(gdstk.Label('ng_0_r1', (4.58,6.325), layer=69, texttype=5))
cdac_unit_2x3.add(gdstk.Label('pg_1_r1', (4.58,6.665), layer=69, texttype=5))
cdac_unit_2x3.add(gdstk.Label('ng_1_r1', (4.58,7.005), layer=69, texttype=5))
cdac_unit_2x3.add(gdstk.Label('vss', (0,-0.6), layer=69, texttype=5))
cdac_unit_2x3.add(gdstk.Label('vin', (-0.735,-1.4), layer=69, texttype=5))
cdac_unit_2x3.add(gdstk.Label('vref', (4.435,-2.2), layer=69, texttype=5))
cdac_unit_2x3.add(gdstk.Label('vdd', (4.88,-3), layer=69, texttype=5))
cdac_unit_2x3.add(gdstk.Label('top', (0,-0.6), layer=71, texttype=5))

lib.write_gds('cdac_unit_2x3.gds')
